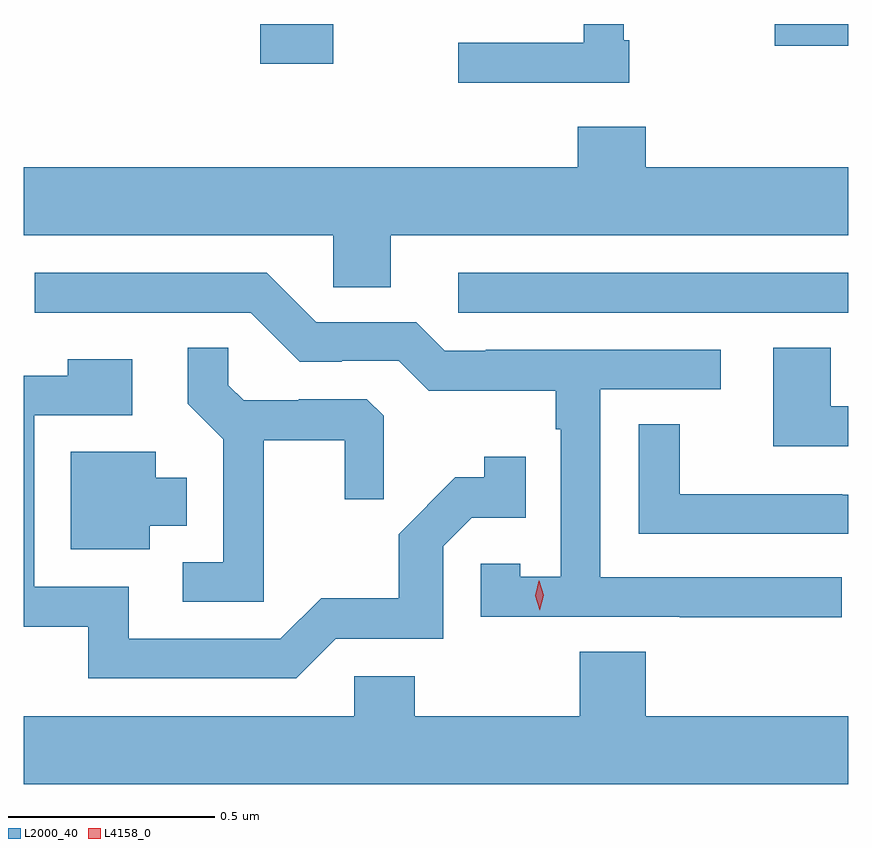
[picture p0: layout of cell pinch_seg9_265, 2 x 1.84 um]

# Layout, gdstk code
import gdstk
lib = gdstk.Library(unit=1e-6, precision=1e-09)
def R(c, l, rs):  # rectangles x0, y0, x1, y1
    for r in rs: c.add(gdstk.rectangle(r[:2], r[2:], *l))
def P(c, l, *ps):  # polygons
    for p in ps: c.add(gdstk.Polygon(p, *l))
L2000_40 = (2000, 40)
L4158_0 = (4158, 0)

pinch_seg9_265 = lib.new_cell('pinch_seg9_265')
R(pinch_seg9_265, L2000_40, [(397.359,1212.216,398.305,1212.312), (396.878,1212.819,397.056,1212.916), (398.127,1212.863,398.305,1212.916)])
P(pinch_seg9_265, L2000_40, [(397.774,1212.877),(397.761,1212.877),(397.761,1212.916),(397.664,1212.916),(397.664,1212.87),(397.359,1212.87),(397.359,1212.774),(397.774,1212.774)],
  [(397.195,1212.404),(398.305,1212.404),(398.305,1212.568),(397.814,1212.568),(397.814,1212.667),(397.649,1212.667),(397.649,1212.568),(396.305,1212.568),(396.305,1212.404),(397.056,1212.404),(397.056,1212.277),(397.195,1212.277)],
  [(398.29,1211.574),(397.704,1211.574),(397.704,1212.03),(397.996,1212.03),(397.996,1212.126),(397.426,1212.126),(397.426,1212.123),(397.326,1212.123),(397.257,1212.192),(397.014,1212.192),(396.894,1212.312),(396.332,1212.312),(396.332,1212.216),(396.855,1212.216),(396.975,1212.096),(397.076,1212.096),(397.076,1212.099),(397.215,1212.099),(397.288,1212.026),(397.596,1212.026),(397.596,1211.933),(397.608,1211.933),(397.608,1211.575),(397.509,1211.575),(397.509,1211.607),(397.413,1211.607),(397.413,1211.478),(397.897,1211.478),(397.897,1211.476),(398.29,1211.476)],
  [(398.305,1211.988),(398.263,1211.988),(398.263,1212.131),(398.123,1212.131),(398.123,1211.892),(398.305,1211.892)],
  [(396.887,1211.906),(397.084,1211.906),(397.084,1211.763),(397.178,1211.763),(397.178,1211.965),(397.137,1212.006),(396.972,1212.006),(396.972,1212.003),(396.838,1212.003),(396.801,1212.04),(396.801,1212.131),(396.703,1212.131),(396.703,1211.995),(396.789,1211.909),(396.789,1211.61),(396.69,1211.61),(396.69,1211.514),(396.887,1211.514)],
  [(397.062,1211.424),(397.323,1211.424),(397.323,1211.649),(397.392,1211.718),(397.523,1211.718),(397.523,1211.866),(397.422,1211.866),(397.422,1211.816),(397.352,1211.816),(397.215,1211.678),(397.215,1211.523),(397.026,1211.523),(396.927,1211.424),(396.559,1211.424),(396.559,1211.55),(396.33,1211.55),(396.33,1211.967),(396.568,1211.967),(396.568,1212.103),(396.412,1212.103),(396.412,1212.063),(396.305,1212.063),(396.305,1211.454),(396.461,1211.454),(396.461,1211.328),(396.966,1211.328)],
  [(398.305,1211.774),(398.291,1211.774),(398.291,1211.775),(397.896,1211.775),(397.896,1211.945),(397.797,1211.945),(397.797,1211.679),(398.305,1211.679)],
  [(396.61,1211.699),(396.7,1211.699),(396.7,1211.815),(396.625,1211.815),(396.625,1211.878),(396.419,1211.878),(396.419,1211.642),(396.61,1211.642)],
  [(398.305,1211.236),(397.814,1211.236),(397.814,1211.393),(397.654,1211.393),(397.654,1211.236),(397.254,1211.236),(397.254,1211.334),(397.107,1211.334),(397.107,1211.236),(396.305,1211.236),(396.305,1211.072),(398.305,1211.072)])
P(pinch_seg9_265, L4158_0, [(397.557,1211.493),(397.557,1211.494),(397.546,1211.529),(397.554,1211.565),(397.555,1211.565),(397.555,1211.565),(397.566,1211.53),(397.557,1211.494)])

lib.write_gds('pinch_seg9_265.gds')
